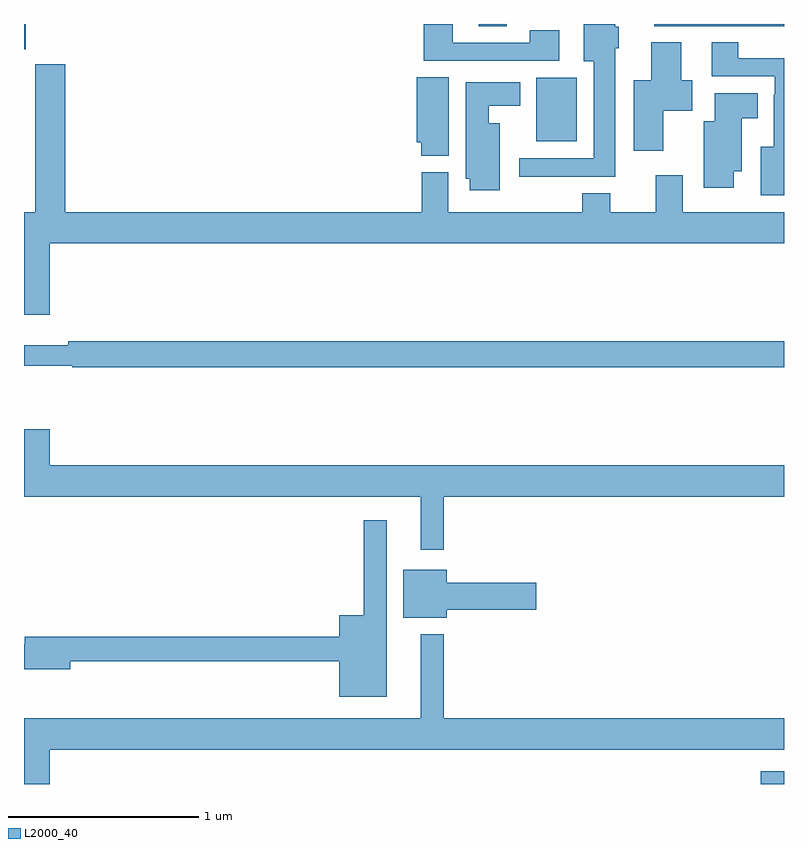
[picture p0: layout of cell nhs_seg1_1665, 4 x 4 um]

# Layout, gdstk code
import gdstk
lib = gdstk.Library(unit=1e-6, precision=1e-09)
def R(c, l, rs):  # rectangles x0, y0, x1, y1
    for r in rs: c.add(gdstk.rectangle(r[:2], r[2:], *l))
def P(c, l, *ps):  # polygons
    for p in ps: c.add(gdstk.Polygon(p, *l))
L2000_40 = (2000, 40)

nhs_seg1_1665 = lib.new_cell('nhs_seg1_1665')
R(nhs_seg1_1665, L2000_40, [(204.878,570.199,205,570.265), (203.696,573.581,203.908,573.916), (201,574.067,201.01,574.199), (203.393,574.186,203.541,574.199), (204.318,574.188,205,574.199)])
P(nhs_seg1_1665, L2000_40, [(203.818,574.165),(203.662,574.165),(203.662,574.101),(203.257,574.101),(203.257,574.199),(203.105,574.199),(203.105,574.005),(203.818,574.005)],
  [(204.112,574.071),(204.13,574.071),(204.13,574.185),(204.112,574.185),(204.112,574.199),(203.945,574.199),(203.945,574.004),(203.999,574.004),(203.999,573.492),(203.607,573.492),(203.607,573.395),(204.112,573.395)],
  [(205,574.02),(204.76,574.02),(204.76,574.103),(204.62,574.103),(204.62,573.924),(204.951,573.924),(204.951,573.827),(204.947,573.827),(204.947,573.553),(204.878,573.553),(204.878,573.299),(205,573.299)],
  [(204.364,573.742),(204.517,573.742),(204.517,573.904),(204.46,573.904),(204.46,574.103),(204.302,574.103),(204.302,573.904),(204.209,573.904),(204.209,573.531),(204.364,573.531)],
  [(201.136,573.044),(205,573.044),(205,573.208),(204.466,573.208),(204.466,573.403),(204.326,573.403),(204.326,573.208),(204.085,573.208),(204.085,573.307),(203.938,573.307),(203.938,573.208),(203.233,573.208),(203.233,573.42),(203.093,573.42),(203.093,573.208),(201.218,573.208),(201.218,573.988),(201.058,573.988),(201.058,573.208),(201,573.208),(201,572.67),(201.136,572.67)],
  [(203.236,573.92),(203.066,573.92),(203.066,573.576),(203.09,573.576),(203.09,573.505),(203.236,573.505)],
  [(203.503,573.676),(203.446,573.676),(203.446,573.77),(203.611,573.77),(203.611,573.892),(203.324,573.892),(203.324,573.384),(203.345,573.384),(203.345,573.324),(203.503,573.324)],
  [(204.736,573.425),(204.778,573.425),(204.778,573.704),(204.862,573.704),(204.862,573.835),(204.635,573.835),(204.635,573.688),(204.578,573.688),(204.578,573.336),(204.736,573.336)],
  [(205,572.528),(201.232,572.528),(201.232,572.509),(201,572.509),(201,572.4),(201.255,572.4),(201.255,572.392),(205,572.392)],
  [(203.209,571.712),(205,571.712),(205,571.876),(201.136,571.876),(201.136,572.065),(201,572.065),(201,571.712),(203.087,571.712),(203.087,571.431),(203.209,571.431)],
  [(202.909,571.588),(202.788,571.588),(202.788,571.087),(202.658,571.087),(202.658,570.974),(201.005,570.974),(201.005,570.938),(201,570.938),(201,570.803),(201.244,570.803),(201.244,570.846),(202.658,570.846),(202.658,570.659),(202.909,570.659)],
  [(203.224,571.115),(203.695,571.115),(203.695,571.257),(203.224,571.257),(203.224,571.327),(202.997,571.327),(202.997,571.073),(203.224,571.073)],
  [(201.136,570.38),(205,570.38),(205,570.544),(203.209,570.544),(203.209,570.988),(203.087,570.988),(203.087,570.544),(201,570.544),(201,570.199),(201.136,570.199)])

lib.write_gds('nhs_seg1_1665.gds')
